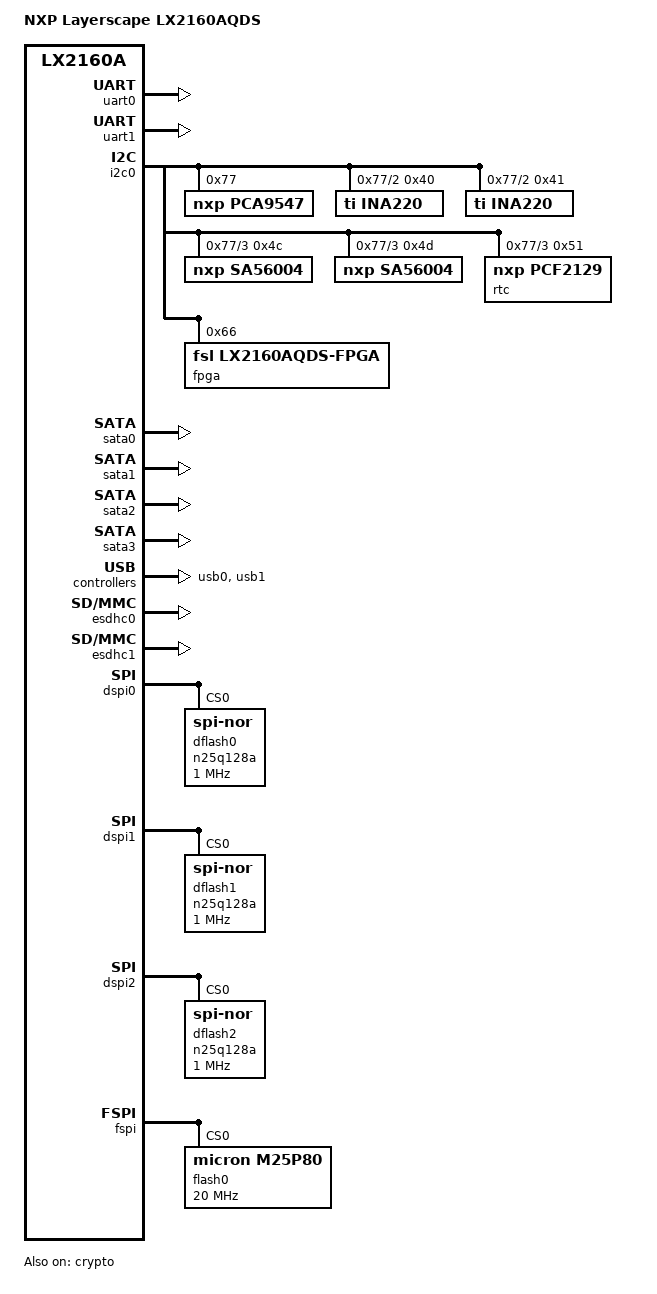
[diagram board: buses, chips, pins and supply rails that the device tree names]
/*
 * Device Tree file for LX2160AQDS
 *
 * Copyright 2018 NXP
 *
 * Wasim Khan <wasim.khan@nxp.com>
 *
 * This file is dual-licensed: you can use it either under the terms
 * of the GPL or the X11 license, at your option. Note that this dual
 * licensing only applies to this file, and not this project as a
 * whole.
 *
 *  a) This library is free software; you can redistribute it and/or
 *     modify it under the terms of the GNU General Public License as
 *     published by the Free Software Foundation; either version 2 of the
 *     License, or (at your option) any later version.
 *
 *     This library is distributed in the hope that it will be useful,
 *     but WITHOUT ANY WARRANTY; without even the implied warranty of
 *     MERCHANTABILITY or FITNESS FOR A PARTICULAR PURPOSE.  See the
 *     GNU General Public License for more details.
 *
 * Or, alternatively,
 *
 *  b) Permission is hereby granted, free of charge, to any person
 *     obtaining a copy of this software and associated documentation
 *     files (the "Software"), to deal in the Software without
 *     restriction, including without limitation the rights to use,
 *     copy, modify, merge, publish, distribute, sublicense, and/or
 *     sell copies of the Software, and to permit persons to whom the
 *     Software is furnished to do so, subject to the following
 *     conditions:
 *
 *     The above copyright notice and this permission notice shall be
 *     included in all copies or substantial portions of the Software.
 *
 *     THE SOFTWARE IS PROVIDED "AS IS", WITHOUT WARRANTY OF ANY KIND,
 *     EXPRESS OR IMPLIED, INCLUDING BUT NOT LIMITED TO THE WARRANTIES
 *     OF MERCHANTABILITY, FITNESS FOR A PARTICULAR PURPOSE AND
 *     NONINFRINGEMENT. IN NO EVENT SHALL THE AUTHORS OR COPYRIGHT
 *     HOLDERS BE LIABLE FOR ANY CLAIM, DAMAGES OR OTHER LIABILITY,
 *     WHETHER IN AN ACTION OF CONTRACT, TORT OR OTHERWISE, ARISING
 *     FROM, OUT OF OR IN CONNECTION WITH THE SOFTWARE OR THE USE OR
 *     OTHER DEALINGS IN THE SOFTWARE.
 */

/dts-v1/;

#include "fsl-lx2160a.dtsi"

/ {
	model = "NXP Layerscape LX2160AQDS";
	compatible = "fsl,lx2160a-qds", "fsl,lx2160a";

	aliases {
		crypto = &crypto;
		serial0 = &uart0;
		serial1 = &uart1;
		serial2 = &uart2;
		serial3 = &uart3;
	};
	chosen {
		stdout-path = "serial0:115200n8";
	};
};

&uart0 {
	status = "okay";
};

&uart1 {
	status = "okay";
};

&i2c0 {
	status = "okay";
	pca9547@77 {
		compatible = "nxp,pca9547";
		reg = <0x77>;
		#address-cells = <1>;
		#size-cells = <0>;

		i2c@2 {
			#address-cells = <1>;
			#size-cells = <0>;
			reg = <0x2>;

			ina220@40 {
				compatible = "ti,ina220";
				reg = <0x40>;
				shunt-resistor = <500>;
			};

			ina220@41 {
				compatible = "ti,ina220";
				reg = <0x41>;
				shunt-resistor = <1000>;
			};
		};

		i2c@3 {
			#address-cells = <1>;
			#size-cells = <0>;
			reg = <0x3>;

			sa56004@4c {
				compatible = "nxp,sa56004";
				reg = <0x4c>;
			};

			sa56004@4d {
				compatible = "nxp,sa56004";
				reg = <0x4d>;
			};

			rtc@51 {
				compatible = "nxp,pcf2129";
				reg = <0x51>;
			};
		};
	};
	fpga: fpga@66 {
		compatible = "fsl,lx2160aqds-fpga", "fsl,fpga-qixis-i2c";
		reg = <0x66>;
		#address-cells = <1>;
		#size-cells = <0>;
		mdio0_mux@54 {
			compatible = "mdio-mux-i2creg", "mdio-mux";
			mdio-parent-bus = <&emdio1>;
			reg = <0x54>;		 /* BRDCFG4 */
			mux-mask = <0xf8>;      /* EMI1_MDIO */

			#address-cells=<1>;
			#size-cells = <0>;

			mdio0_ioslot1@c0 {
				reg = <0xc0>;
				#address-cells = <1>;
				#size-cells = <0>;

			};
			mdio0_ioslot2@c8 {
				reg = <0xc8>;
				#address-cells = <1>;
				#size-cells = <0>;

			};
			mdio0_ioslot3@d0 {
				reg = <0xd0>;
				#address-cells = <1>;
				#size-cells = <0>;

			};
			mdio0_ioslot4@d8 {
				reg = <0xd8>;
				#address-cells = <1>;
				#size-cells = <0>;

			};
			mdio0_ioslot5@e0 {
				reg = <0xe0>;
				#address-cells = <1>;
				#size-cells = <0>;

			};
			mdio0_ioslot6@e8 {
				reg = <0xe8>;
				#address-cells = <1>;
				#size-cells = <0>;

			};
			mdio0_ioslot7@f0 {
				reg = <0xf0>;
				#address-cells = <1>;
				#size-cells = <0>;

			};
			mdio0_ioslot8@f8 {
				reg = <0xf8>;
				#address-cells = <1>;
				#size-cells = <0>;

			};
			mdio0_rgmii1@0 {
				reg = <0x00>;
				#address-cells = <1>;
				#size-cells = <0>;

			};
			mdio0_rgmii2@40 {
				reg = <0x40>;
				#address-cells = <1>;
				#size-cells = <0>;

			};
		};
		mdio1_mux@54 {
			compatible = "mdio-mux-i2creg", "mdio-mux";
			mdio-parent-bus = <&emdio1>;
			reg = <0x54>;		 /* BRDCFG4 */
			mux-mask = <0x07>;      /* EMI2_MDIO */

			#address-cells=<1>;
			#size-cells = <0>;

			mdio1_ioslot1@0 {
				reg = <0x00>;
				#address-cells = <1>;
				#size-cells = <0>;

			};
			mdio1_ioslot2@1 {
				reg = <0x01>;
				#address-cells = <1>;
				#size-cells = <0>;

			};
			mdio1_ioslot3@2 {
				reg = <0x02>;
				#address-cells = <1>;
				#size-cells = <0>;

			};
			mdio1_ioslot4@3 {
				reg = <0x03>;
				#address-cells = <1>;
				#size-cells = <0>;

			};
			mdio1_ioslot5@4 {
				reg = <0x04>;
				#address-cells = <1>;
				#size-cells = <0>;

			};
			mdio1_ioslot6@5 {
				reg = <0x05>;
				#address-cells = <1>;
				#size-cells = <0>;

			};
			mdio1_ioslot7@6 {
				reg = <0x06>;
				#address-cells = <1>;
				#size-cells = <0>;

			};
			mdio1_ioslot8@7 {
				reg = <0x07>;
				#address-cells = <1>;
				#size-cells = <0>;

			};
		};
	};
};

&sata0 {
	status = "okay";
};

&sata1 {
	status = "okay";
};

&sata2 {
	status = "okay";
};

&sata3 {
	status = "okay";
};

&usb0 {
	status = "okay";
};

&usb1 {
	status = "okay";
};

&esdhc0 {
	sd-uhs-sdr104;
	sd-uhs-sdr50;
	sd-uhs-sdr25;
	sd-uhs-sdr12;
	status = "okay";
};

&esdhc1 {
	mmc-hs200-1_8v;
	status = "okay";
};

&dspi0 {
	dflash0: n25q128a {
		#address-cells = <1>;
		#size-cells = <1>;
		compatible = "jedec,spi-nor";
		reg = <0>;
		spi-max-frequency = <1000000>;
	};
};

&dspi1 {
	dflash1: n25q128a {
		#address-cells = <1>;
		#size-cells = <1>;
		compatible = "jedec,spi-nor";
		reg = <0>;
		spi-max-frequency = <1000000>;
	};
};

&dspi2 {
	dflash2: n25q128a {
		#address-cells = <1>;
		#size-cells = <1>;
		compatible = "jedec,spi-nor";
		reg = <0>;
		spi-max-frequency = <1000000>;
	};
};

&fspi {
	status = "okay";
	flash0: mt35xu512aba@0 {
		#address-cells = <1>;
		#size-cells = <1>;
		compatible = "micron,m25p80";
		m25p,fast-read;
		spi-max-frequency = <20000000>;
		reg = <0>;
		/* The following setting enables 1-1-8 (CMD-ADDR-DATA) mode */
		spi-rx-bus-width = <8>; /* 8 SPI Rx lines */
		spi-tx-bus-width = <1>; /* 1 SPI Tx line */
	};
};

&crypto {
	status = "okay";
};

